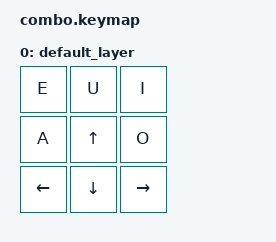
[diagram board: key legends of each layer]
#include <behaviors.dtsi>
#include <dt-bindings/zmk/keys.h>

/ {
    keymap {
        compatible = "zmk,keymap";
        default_layer {
            bindings = <
                &kp E     &kp U     &kp I
                &kp A     &kp UP    &kp O
                &kp LEFT  &kp DOWN  &kp RIGHT
            >;
        };
    };
};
